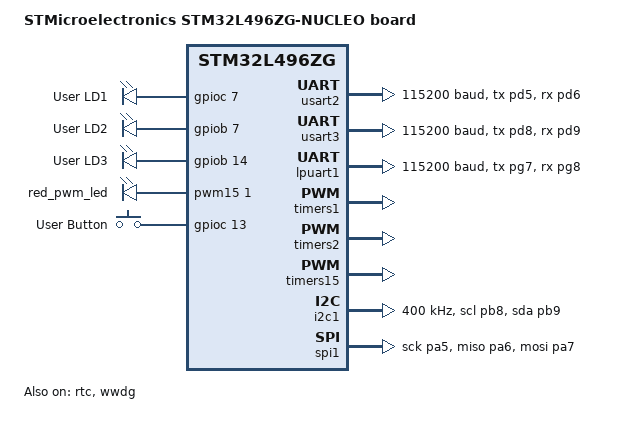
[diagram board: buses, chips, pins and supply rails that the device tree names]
/*
 * Copyright (c) 2018 Centaur Analytics, Inc
 *
 * SPDX-License-Identifier: Apache-2.0
 */

/dts-v1/;
#include <st/l4/stm32l496Xg.dtsi>
#include <st/l4/stm32l496z(e-g)tx-pinctrl.dtsi>
#include "arduino_r3_connector.dtsi"

/ {
	model = "STMicroelectronics STM32L496ZG-NUCLEO board";
	compatible = "st,stm32l496zg-nucleo";

	chosen {
		zephyr,console = &lpuart1;
		zephyr,shell-uart = &lpuart1;
		zephyr,sram = &sram0;
		zephyr,flash = &flash0;
	};

	leds {
		compatible = "gpio-leds";
		green_led_1: led_1 {
			gpios = <&gpioc 7 GPIO_ACTIVE_HIGH>;
			label = "User LD1";
		};
		blue_led_2: led_2 {
			gpios = <&gpiob 7 GPIO_ACTIVE_HIGH>;
			label = "User LD2";
		};
		red_led_3: led_3 {
			gpios = <&gpiob 14 GPIO_ACTIVE_HIGH>;
			label = "User LD3";
		};
	};

	pwmleds {
		compatible = "pwm-leds";

		red_pwm_led: red_pwm_led {
			pwms = <&pwm15 1 PWM_MSEC(20) PWM_POLARITY_NORMAL>;
		};
	};

	gpio_keys {
		compatible = "gpio-keys";
		user_button: button {
			label = "User Button";
			gpios = <&gpioc 13 GPIO_ACTIVE_HIGH>;
		};
	};

	aliases {
		led0 = &green_led_1;
		led1 = &blue_led_2;
		led2 = &red_led_3;
		pwm-led0 = &red_pwm_led;
		sw0 = &user_button;
	};
};

&clk_hsi {
	status = "okay";
};

&pll {
	div-m = <1>;
	mul-n = <20>;
	div-p = <7>;
	div-q = <2>;
	div-r = <4>;
	clocks = <&clk_hsi>;
	status = "okay";
};

&rcc {
	clocks = <&pll>;
	clock-frequency = <DT_FREQ_M(80)>;
	ahb-prescaler = <1>;
	apb1-prescaler = <1>;
	apb2-prescaler = <1>;
};

&usart2 {
	pinctrl-0 = <&usart2_tx_pd5 &usart2_rx_pd6>;
	pinctrl-names = "default";
	current-speed = <115200>;
	status = "okay";
};

&usart3 {
	pinctrl-0 = <&usart3_tx_pd8 &usart3_rx_pd9>;
	pinctrl-names = "default";
	current-speed = <115200>;
	status = "okay";
};

&lpuart1 {
	pinctrl-0 = <&lpuart1_tx_pg7 &lpuart1_rx_pg8>;
	pinctrl-names = "default";
	current-speed = <115200>;
	status = "okay";
};

&timers1 {
	st,prescaler = <10000>;
	status = "okay";

	pwm1: pwm {
		status = "okay";
		pinctrl-0 = <&tim1_ch1_pe9
			     &tim1_ch2_pe11
			     &tim1_ch3_pe13>;
		pinctrl-names = "default";
	};
};

&timers2 {
	status = "okay";

	pwm2: pwm {
		status = "okay";
		pinctrl-0 = <&tim2_ch1_pa0>;
		pinctrl-names = "default";
	};
};

&timers15 {
	st,prescaler = <10000>;
	status = "okay";

	pwm15: pwm {
		status = "okay";
		pinctrl-0 = <&tim15_ch1_pb14>;
		pinctrl-names = "default";
	};
};

&i2c1 {
	pinctrl-0 = <&i2c1_scl_pb8 &i2c1_sda_pb9>;
	pinctrl-names = "default";
	status = "okay";
	clock-frequency = <I2C_BITRATE_FAST>;
};

&spi1 {
	pinctrl-0 = <&spi1_sck_pa5 &spi1_miso_pa6 &spi1_mosi_pa7>;
	pinctrl-names = "default";
	cs-gpios = <&gpiod 14 (GPIO_ACTIVE_LOW | GPIO_PULL_UP)>;
	status = "okay";
};

&rtc {
	status = "okay";
};

&wwdg {
	status = "okay";
};
